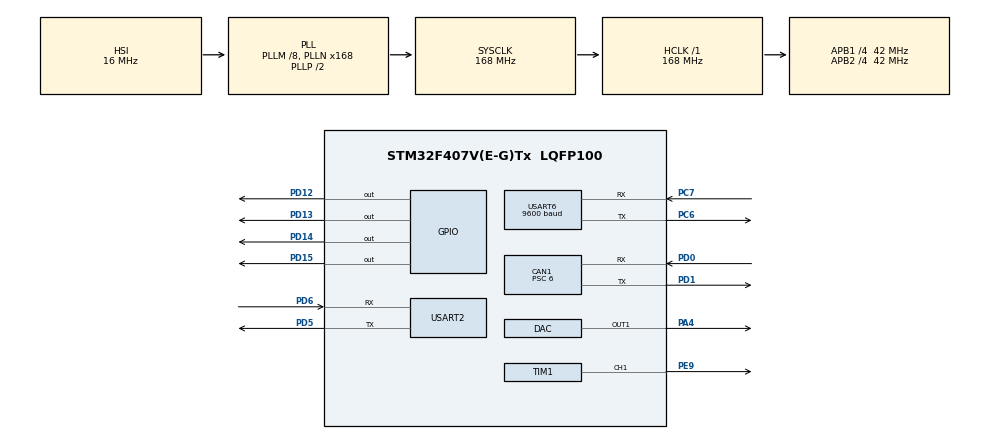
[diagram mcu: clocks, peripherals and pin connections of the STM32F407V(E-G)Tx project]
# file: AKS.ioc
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CAN1.BS1=CAN_BS1_11TQ
CAN1.BS2=CAN_BS2_2TQ
CAN1.CalculateBaudRate=500000
CAN1.CalculateTimeBit=2000
CAN1.CalculateTimeQuantum=142.85714285714286
CAN1.Prescaler=6
DAC.DAC_Trigger=DAC_TRIGGER_T6_TRGO
Dma.Request0=TIM1_CH1
Dma.TIM1_CH1.0.Direction=DMA_MEMORY_TO_PERIPH
Dma.TIM1_CH1.0.FIFOMode=DMA_FIFOMODE_DISABLE
Dma.TIM1_CH1.0.Instance=DMA2_Stream1
Dma.TIM1_CH1.0.MemDataAlignment=DMA_MDATAALIGN_HALFWORD
Dma.TIM1_CH1.0.MemInc=DMA_MINC_ENABLE
Dma.TIM1_CH1.0.Mode=DMA_NORMAL
Dma.TIM1_CH1.0.PeriphDataAlignment=DMA_PDATAALIGN_HALFWORD
Dma.TIM1_CH1.0.PeriphInc=DMA_PINC_DISABLE
Dma.TIM1_CH1.0.Priority=DMA_PRIORITY_LOW
FREERTOS.Tasks01=nextion,24,128,start_nextion,Default,NULL,Dynamic,NULL,NULL;rf,24,128,start_rf,Default,NULL,Dynamic,NULL,NULL;can,24,128,start_can,Default,NULL,Dynamic,NULL,NULL;right_signal,24,128,right_signal_start,Default,NULL,Dynamic,NULL,NULL;left_signal,24,128,left_signal_signal,Default,NULL,Dynamic,NULL,NULL;stop_signal,24,128,stop_signal_start,Default,NULL,Dynamic,NULL,NULL
Mcu.Family=STM32F4
Mcu.Name=STM32F407V(E-G)Tx
Mcu.Package=LQFP100
NVIC.DMA2_Stream1_IRQn=true\:5\:0\:false\:false\:true\:true\:false\:true\:true
NVIC.PriorityGroup=NVIC_PRIORITYGROUP_4
NVIC.TIM6_DAC_IRQn=true\:5\:0\:false\:false\:true\:false\:false\:true\:true
NVIC.TIM7_IRQn=true\:15\:0\:false\:false\:true\:false\:true\:true\:true
NVIC.TimeBase=TIM7_IRQn
NVIC.TimeBaseIP=TIM7
PA13.Mode=Serial_Wire
PA13.Signal=SYS_JTMS-SWDIO
PA14.Mode=Serial_Wire
PA14.Signal=SYS_JTCK-SWCLK
PA4.Signal=COMP_DAC1_group
PC6.Mode=Asynchronous
PC6.Signal=USART6_TX
PC7.Mode=Asynchronous
PC7.Signal=USART6_RX
PD0.Mode=CAN_Activate
PD0.Signal=CAN1_RX
PD1.Mode=CAN_Activate
PD1.Signal=CAN1_TX
PD12.Signal=GPIO_Output
PD13.Signal=GPIO_Output
PD14.Signal=GPIO_Output
PD15.Signal=GPIO_Output
PD5.Mode=Asynchronous
PD5.Signal=USART2_TX
PD6.Mode=Asynchronous
PD6.Signal=USART2_RX
PE9.Signal=S_TIM1_CH1
PH0-OSC_IN.Mode=HSE-External-Clock-Source
PH0-OSC_IN.Signal=RCC_OSC_IN
PH1-OSC_OUT.Mode=HSE-External-Clock-Source
PH1-OSC_OUT.Signal=RCC_OSC_OUT
ProjectManager.HeapSize=0x200
ProjectManager.StackSize=0x400
ProjectManager.TargetToolchain=STM32CubeIDE
RCC.48MHZClocksFreq_Value=84000000
RCC.AHBFreq_Value=168000000
RCC.APB1CLKDivider=RCC_HCLK_DIV4
RCC.APB1Freq_Value=42000000
RCC.APB1TimFreq_Value=84000000
RCC.APB2CLKDivider=RCC_HCLK_DIV4
RCC.APB2Freq_Value=42000000
RCC.APB2TimFreq_Value=84000000
RCC.CortexFreq_Value=168000000
RCC.HCLKFreq_Value=168000000
RCC.HSE_VALUE=25000000
RCC.HSI_VALUE=16000000
RCC.LSE_VALUE=32768
RCC.PLLM=8
RCC.PLLN=168
RCC.SYSCLKFreq_VALUE=168000000
RCC.SYSCLKSource=RCC_SYSCLKSOURCE_PLLCLK
RCC.VCOOutputFreq_Value=336000000
SH.COMP_DAC1_group.0=DAC_OUT1,DAC_OUT1
SH.S_TIM1_CH1.0=TIM1_CH1,PWM Generation1 CH1
TIM1.Channel-PWM\ Generation1\ CH1=TIM_CHANNEL_1
TIM1.Period=105-1
TIM6.Period=3000
USART2.VirtualMode=VM_ASYNC
USART6.BaudRate=9600
USART6.VirtualMode=VM_ASYNC
VP_FREERTOS_VS_CMSIS_V2.Mode=CMSIS_V2
VP_SYS_VS_tim7.Mode=TIM7
VP_TIM1_VS_ClockSourceINT.Mode=Internal
VP_TIM6_VS_ClockSourceINT.Mode=Enable_Timer
board=custom

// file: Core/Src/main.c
/* USER CODE BEGIN Header */
/**
  ******************************************************************************
  * @file           : main.c
  * @brief          : Main program body
  ******************************************************************************
  * @attention
  *
  * Copyright (c) 2023 STMicroelectronics.
  * All rights reserved.
  *
  * This software is licensed under terms that can be found in the LICENSE file
  * in the root directory of this software component.
  * If no LICENSE file comes with this software, it is provided AS-IS.
  *
  ******************************************************************************
  */
/* USER CODE END Header */
#include "main.h"
#include "cmsis_os.h"

/* USER CODE BEGIN Includes */
/*extern uint8_t wav_2[33487];
extern uint8_t rawData2[627218];*/
//extern const uint8_t m[661848];
#include "electricar.h"

/* CAN Includes*/

	CAN_TxHeaderTypeDef pTxHeader;
	CAN_RxHeaderTypeDef pRxHeader;
	CAN_FilterTypeDef sFilterConfig;
	uint32_t pTxMailbox;

	uint8_t RxData[8];

	float converted_float[4];
	uint8_t data_bms[8];
	uint8_t data2_bms[8];
	uint8_t data3_bms[8];
	uint8_t data_motor;
	uint8_t data_charger;
	uint8_t data_relay;
	uint8_t CanReceive=0;
	uint8_t RxData_r[1];

	  char arr[100];
/* CAN Includes*/

int BMS_IDS[4] = {1,2,3,4};
int number=10;
int status=0;
int cnt = 0;
char tempp[24][4];
uint8_t adc_value;

char myMessagex[50];

struct VARIABLES{

		/*   veri sırası-----|
							 |
							 v

		 	 	 	 	 	 	 	 */
	/*          RF Values Start	     */
	int direction;
	int speed_for_rf;
	float battery_voltage[24];
	int battery_temparature;
	/*          RF Values End	     */
	int brake;
	float wheel_radius; // 0.5 meter

	int ADC_AVAILABLE;
	int ADC_CALCULATING;
	int CAN_FLAG;
	int RIGHT_SIGNAL_FLAG;
	int LEFT_SIGNAL_FLAG;
	int STOP_SIGNAL_FLAG;
	int ADC_FLAG;
	int VAR_FLAG;
}ecar;
#define power "t2"
#define speed "t12"
#define temp "t5"
#define watt "t10"
#define charge_percentage "t1"
#define clock "t0"
#define state_of_charge1 "p15"
#define state_of_charge2 "t7"
#define charge_time "t9"
#define state_of_charge3 "t11"
#define left_arrow "p6"
#define right_arrow "p9"
#define horn "p5"
#define lights "p13"
#define wiper "p11"

/* USER CODE END Includes */

 CAN_HandleTypeDef hcan1;

DAC_HandleTypeDef hdac;

TIM_HandleTypeDef htim1;
TIM_HandleTypeDef htim6;
DMA_HandleTypeDef hdma_tim1_ch1;

UART_HandleTypeDef huart2;
UART_HandleTypeDef huart6;

/* Definitions for nextion */
osThreadId_t nextionHandle;
const osThreadAttr_t nextion_attributes = {
  .name = "nextion",
  .stack_size = 128 * 4,
  .priority = (osPriority_t) osPriorityNormal,
};
/* Definitions for rf */
osThreadId_t rfHandle;
const osThreadAttr_t rf_attributes = {
  .name = "rf",
  .stack_size = 128 * 4,
  .priority = (osPriority_t) osPriorityNormal,
};
/* Definitions for can */
osThreadId_t canHandle;
const osThreadAttr_t can_attributes = {
  .name = "can",
  .stack_size = 128 * 4,
  .priority = (osPriority_t) osPriorityNormal,
};
/* Definitions for right_signal */
osThreadId_t right_signalHandle;
const osThreadAttr_t right_signal_attributes = {
  .name = "right_signal",
  .stack_size = 128 * 4,
  .priority = (osPriority_t) osPriorityNormal,
};
/* Definitions for left_signal */
osThreadId_t left_signalHandle;
const osThreadAttr_t left_signal_attributes = {
  .name = "left_signal",
  .stack_size = 128 * 4,
  .priority = (osPriority_t) osPriorityNormal,
};
/* Definitions for stop_signal */
osThreadId_t stop_signalHandle;
const osThreadAttr_t stop_signal_attributes = {
  .name = "stop_signal",
  .stack_size = 128 * 4,
  .priority = (osPriority_t) osPriorityNormal,
};

void SystemClock_Config(void);
static void MX_GPIO_Init(void);
static void MX_CAN1_Init(void);
static void MX_DAC_Init(void);
static void MX_USART2_UART_Init(void);
static void MX_USART6_UART_Init(void);
static void MX_DMA_Init(void);
static void MX_TIM6_Init(void);
static void MX_TIM1_Init(void);
void start_nextion(void *argument);
void start_rf(void *argument);
void start_can(void *argument);
void right_signal_start(void *argument);
void left_signal_signal(void *argument);
void stop_signal_start(void *argument);

/* USER CODE BEGIN PFP */
void HAL_TIM_PWM_PulseFinishedCallback(TIM_HandleTypeDef *htim);
void Set_LED (int LEDnum, int Red, int Green, int Blue);
void Set_Brightness (int brightness);
void WS2812_Send (void);
void Reset_LED (void);
void right_signal();
void stop_signal();
void left_signal();
float convert_float (int data_1, int data_2);
int data_merge();
void toggle_func(GPIO_TypeDef * port,uint16_t pin,int togg_flag,const int const_val);
int prepare_data();
void deneme();
/* USER CODE END PFP */

/* USER CODE BEGIN 0 */

#define MAX_LED 45
#define USE_BRIGHTNESS 0
#define l 15
#define RIGHT_SIGNAL MAX_LED-l
#define LEFT_SIGNAL MAX_LED-l-l-l
#define STOP_SIGNAL MAX_LED-l-l
#define PI 3.14159265

uint8_t LED_Data[MAX_LED][4];
uint8_t LED_Mod[MAX_LED][4];  // for brightness

int datasentflag=0;

/* USER CODE END 0 */

int main(void)
{

  /* MCU Configuration--------------------------------------------------------*/

  /* Reset of all peripherals, Initializes the Flash interface and the Systick. */
  HAL_Init();

  /* Configure the system clock */
  SystemClock_Config();

  /* Initialize all configured peripherals */
  MX_GPIO_Init();
  MX_CAN1_Init();
  MX_DAC_Init();
  MX_USART2_UART_Init();
  MX_USART6_UART_Init();
  MX_DMA_Init();
  MX_TIM6_Init();
  MX_TIM1_Init();
  /* USER CODE BEGIN 2 */
  HAL_DAC_Start(&hdac, DAC_CHANNEL_1);
  HAL_TIM_Base_Start_IT(&htim6);
  HAL_CAN_Start(&hcan1);

  pTxHeader.DLC = 1;
  pTxHeader.IDE = CAN_ID_STD;
  pTxHeader.RTR = CAN_RTR_DATA;
  pTxHeader.StdId = 0x0407;

  Reset_LED();

  Set_Brightness(45);
  WS2812_Send();
   //set filter parameters
   sFilterConfig.FilterActivation = ENABLE;
   sFilterConfig.FilterBank = 0;
   sFilterConfig.FilterFIFOAssignment = CAN_FILTER_FIFO0;
   sFilterConfig.FilterIdHigh = 0x0000 ;
   sFilterConfig.FilterIdLow = 0x0000 ;
   sFilterConfig.FilterMaskIdHigh = 0x0000 ;
   sFilterConfig.FilterMaskIdLow = 0x0000 ;
   sFilterConfig.FilterMode = CAN_FILTERMODE_IDMASK;
   sFilterConfig.FilterScale = CAN_FILTERSCALE_32BIT;

   HAL_CAN_ConfigFilter(&hcan1, &sFilterConfig);

  /* USER CODE END 2 */

  /* Init scheduler */
  osKernelInitialize();

  /* Create the thread(s) */
  /* creation of nextion */
  nextionHandle = osThreadNew(start_nextion, NULL, &nextion_attributes);

  /* creation of rf */
  rfHandle = osThreadNew(start_rf, NULL, &rf_attributes);

  /* creation of can */
  canHandle = osThreadNew(start_can, NULL, &can_attributes);

  /* creation of right_signal */
  right_signalHandle = osThreadNew(right_signal_start, NULL, &right_signal_attributes);

  /* creation of left_signal */
  left_signalHandle = osThreadNew(left_signal_signal, NULL, &left_signal_attributes);

  /* creation of stop_signal */
  stop_signalHandle = osThreadNew(stop_signal_start, NULL, &stop_signal_attributes);

  /* Start scheduler */
  osKernelStart();

  /* We should never get here as control is now taken by the scheduler */
  /* Infinite loop */
  while (1)
  {

  }
}

void SystemClock_Config(void)
{
  RCC_OscInitTypeDef RCC_OscInitStruct = {0};
  RCC_ClkInitTypeDef RCC_ClkInitStruct = {0};

  /** Configure the main internal regulator output voltage
  */
  __HAL_RCC_PWR_CLK_ENABLE();
  __HAL_PWR_VOLTAGESCALING_CONFIG(PWR_REGULATOR_VOLTAGE_SCALE1);

  /** Initializes the RCC Oscillators according to the specified parameters
  * in the RCC_OscInitTypeDef structure.
  */
  RCC_OscInitStruct.OscillatorType = RCC_OSCILLATORTYPE_HSI;
  RCC_OscInitStruct.HSIState = RCC_HSI_ON;
  RCC_OscInitStruct.HSICalibrationValue = RCC_HSICALIBRATION_DEFAULT;
  RCC_OscInitStruct.PLL.PLLState = RCC_PLL_ON;
  RCC_OscInitStruct.PLL.PLLSource = RCC_PLLSOURCE_HSI;
  RCC_OscInitStruct.PLL.PLLM = 8;
  RCC_OscInitStruct.PLL.PLLN = 168;
  RCC_OscInitStruct.PLL.PLLP = RCC_PLLP_DIV2;
  RCC_OscInitStruct.PLL.PLLQ = 4;
  if (HAL_RCC_OscConfig(&RCC_OscInitStruct) != HAL_OK)
  {
    Error_Handler();
  }

  /** Initializes the CPU, AHB and APB buses clocks
  */
  RCC_ClkInitStruct.ClockType = RCC_CLOCKTYPE_HCLK|RCC_CLOCKTYPE_SYSCLK
                              |RCC_CLOCKTYPE_PCLK1|RCC_CLOCKTYPE_PCLK2;
  RCC_ClkInitStruct.SYSCLKSource = RCC_SYSCLKSOURCE_PLLCLK;
  RCC_ClkInitStruct.AHBCLKDivider = RCC_SYSCLK_DIV1;
  RCC_ClkInitStruct.APB1CLKDivider = RCC_HCLK_DIV4;
  RCC_ClkInitStruct.APB2CLKDivider = RCC_HCLK_DIV4;

  if (HAL_RCC_ClockConfig(&RCC_ClkInitStruct, FLASH_LATENCY_5) != HAL_OK)
  {
    Error_Handler();
  }
}

static void MX_CAN1_Init(void)
{

  hcan1.Instance = CAN1;
  hcan1.Init.Prescaler = 6;
  hcan1.Init.Mode = CAN_MODE_NORMAL;
  hcan1.Init.SyncJumpWidth = CAN_SJW_1TQ;
  hcan1.Init.TimeSeg1 = CAN_BS1_11TQ;
  hcan1.Init.TimeSeg2 = CAN_BS2_2TQ;
  hcan1.Init.TimeTriggeredMode = DISABLE;
  hcan1.Init.AutoBusOff = DISABLE;
  hcan1.Init.AutoWakeUp = DISABLE;
  hcan1.Init.AutoRetransmission = DISABLE;
  hcan1.Init.ReceiveFifoLocked = DISABLE;
  hcan1.Init.TransmitFifoPriority = DISABLE;
  if (HAL_CAN_Init(&hcan1) != HAL_OK)
  {
    Error_Handler();
  }

}

static void MX_DAC_Init(void)
{

  DAC_ChannelConfTypeDef sConfig = {0};

  /** DAC Initialization
  */
  hdac.Instance = DAC;
  if (HAL_DAC_Init(&hdac) != HAL_OK)
  {
    Error_Handler();
  }

  /** DAC channel OUT1 config
  */
  sConfig.DAC_Trigger = DAC_TRIGGER_T6_TRGO;
  sConfig.DAC_OutputBuffer = DAC_OUTPUTBUFFER_ENABLE;
  if (HAL_DAC_ConfigChannel(&hdac, &sConfig, DAC_CHANNEL_1) != HAL_OK)
  {
    Error_Handler();
  }

}

static void MX_TIM1_Init(void)
{

  TIM_ClockConfigTypeDef sClockSourceConfig = {0};
  TIM_MasterConfigTypeDef sMasterConfig = {0};
  TIM_OC_InitTypeDef sConfigOC = {0};
  TIM_BreakDeadTimeConfigTypeDef sBreakDeadTimeConfig = {0};

  htim1.Instance = TIM1;
  htim1.Init.Prescaler = 0;
  htim1.Init.CounterMode = TIM_COUNTERMODE_UP;
  htim1.Init.Period = 105-1;
  htim1.Init.ClockDivision = TIM_CLOCKDIVISION_DIV1;
  htim1.Init.RepetitionCounter = 0;
  htim1.Init.AutoReloadPreload = TIM_AUTORELOAD_PRELOAD_DISABLE;
  if (HAL_TIM_Base_Init(&htim1) != HAL_OK)
  {
    Error_Handler();
  }
  sClockSourceConfig.ClockSource = TIM_CLOCKSOURCE_INTERNAL;
  if (HAL_TIM_ConfigClockSource(&htim1, &sClockSourceConfig) != HAL_OK)
  {
    Error_Handler();
  }
  if (HAL_TIM_PWM_Init(&htim1) != HAL_OK)
  {
    Error_Handler();
  }
  sMasterConfig.MasterOutputTrigger = TIM_TRGO_RESET;
  sMasterConfig.MasterSlaveMode = TIM_MASTERSLAVEMODE_DISABLE;
  if (HAL_TIMEx_MasterConfigSynchronization(&htim1, &sMasterConfig) != HAL_OK)
  {
    Error_Handler();
  }
  sConfigOC.OCMode = TIM_OCMODE_PWM1;
  sConfigOC.Pulse = 0;
  sConfigOC.OCPolarity = TIM_OCPOLARITY_HIGH;
  sConfigOC.OCNPolarity = TIM_OCNPOLARITY_HIGH;
  sConfigOC.OCFastMode = TIM_OCFAST_DISABLE;
  sConfigOC.OCIdleState = TIM_OCIDLESTATE_RESET;
  sConfigOC.OCNIdleState = TIM_OCNIDLESTATE_RESET;
  if (HAL_TIM_PWM_ConfigChannel(&htim1, &sConfigOC, TIM_CHANNEL_1) != HAL_OK)
  {
    Error_Handler();
  }
  sBreakDeadTimeConfig.OffStateRunMode = TIM_OSSR_DISABLE;
  sBreakDeadTimeConfig.OffStateIDLEMode = TIM_OSSI_DISABLE;
  sBreakDeadTimeConfig.LockLevel = TIM_LOCKLEVEL_OFF;
  sBreakDeadTimeConfig.DeadTime = 0;
  sBreakDeadTimeConfig.BreakState = TIM_BREAK_DISABLE;
  sBreakDeadTimeConfig.BreakPolarity = TIM_BREAKPOLARITY_HIGH;
  sBreakDeadTimeConfig.AutomaticOutput = TIM_AUTOMATICOUTPUT_DISABLE;
  if (HAL_TIMEx_ConfigBreakDeadTime(&htim1, &sBreakDeadTimeConfig) != HAL_OK)
  {
    Error_Handler();
  }
  HAL_TIM_MspPostInit(&htim1);

}

static void MX_TIM6_Init(void)
{

  TIM_MasterConfigTypeDef sMasterConfig = {0};

  htim6.Instance = TIM6;
  htim6.Init.Prescaler = 0;
  htim6.Init.CounterMode = TIM_COUNTERMODE_UP;
  htim6.Init.Period = 3000;
  htim6.Init.AutoReloadPreload = TIM_AUTORELOAD_PRELOAD_DISABLE;
  if (HAL_TIM_Base_Init(&htim6) != HAL_OK)
  {
    Error_Handler();
  }
  sMasterConfig.MasterOutputTrigger = TIM_TRGO_RESET;
  sMasterConfig.MasterSlaveMode = TIM_MASTERSLAVEMODE_DISABLE;
  if (HAL_TIMEx_MasterConfigSynchronization(&htim6, &sMasterConfig) != HAL_OK)
  {
    Error_Handler();
  }

}

static void MX_USART2_UART_Init(void)
{

  huart2.Instance = USART2;
  huart2.Init.BaudRate = 115200;
  huart2.Init.WordLength = UART_WORDLENGTH_8B;
  huart2.Init.StopBits = UART_STOPBITS_1;
  huart2.Init.Parity = UART_PARITY_NONE;
  huart2.Init.Mode = UART_MODE_TX_RX;
  huart2.Init.HwFlowCtl = UART_HWCONTROL_NONE;
  huart2.Init.OverSampling = UART_OVERSAMPLING_16;
  if (HAL_UART_Init(&huart2) != HAL_OK)
  {
    Error_Handler();
  }

}

static void MX_USART6_UART_Init(void)
{

  huart6.Instance = USART6;
  huart6.Init.BaudRate = 9600;
  huart6.Init.WordLength = UART_WORDLENGTH_8B;
  huart6.Init.StopBits = UART_STOPBITS_1;
  huart6.Init.Parity = UART_PARITY_NONE;
  huart6.Init.Mode = UART_MODE_TX_RX;
  huart6.Init.HwFlowCtl = UART_HWCONTROL_NONE;
  huart6.Init.OverSampling = UART_OVERSAMPLING_16;
  if (HAL_UART_Init(&huart6) != HAL_OK)
  {
    Error_Handler();
  }

}

static void MX_DMA_Init(void)
{

  /* DMA controller clock enable */
  __HAL_RCC_DMA2_CLK_ENABLE();

  /* DMA interrupt init */
  /* DMA2_Stream1_IRQn interrupt configuration */
  HAL_NVIC_SetPriority(DMA2_Stream1_IRQn, 5, 0);
  HAL_NVIC_EnableIRQ(DMA2_Stream1_IRQn);

}

static void MX_GPIO_Init(void)
{
  GPIO_InitTypeDef GPIO_InitStruct = {0};

  /* GPIO Ports Clock Enable */
  __HAL_RCC_GPIOH_CLK_ENABLE();
  __HAL_RCC_GPIOA_CLK_ENABLE();
  __HAL_RCC_GPIOE_CLK_ENABLE();
  __HAL_RCC_GPIOD_CLK_ENABLE();
  __HAL_RCC_GPIOC_CLK_ENABLE();

  /*Configure GPIO pin Output Level */
  HAL_GPIO_WritePin(GPIOD, GPIO_PIN_12|GPIO_PIN_13|GPIO_PIN_14|GPIO_PIN_15, GPIO_PIN_RESET);

  /*Configure GPIO pins : PD12 PD13 PD14 PD15 */
  GPIO_InitStruct.Pin = GPIO_PIN_12|GPIO_PIN_13|GPIO_PIN_14|GPIO_PIN_15;
  GPIO_InitStruct.Mode = GPIO_MODE_OUTPUT_PP;
  GPIO_InitStruct.Pull = GPIO_NOPULL;
  GPIO_InitStruct.Speed = GPIO_SPEED_FREQ_LOW;
  HAL_GPIO_Init(GPIOD, &GPIO_InitStruct);

}

void start_nextion(void *argument)
{
  /* USER CODE BEGIN 5 */
  /* Infinite loop */
  for(;;)
  {

	  	 number++;
	  	 if(number>100){
	  		 number=10;
	  	 }
	  	 	 uint8_t cmdEnd[3] = { 0xFF, 0xFF, 0xFF };
	  	 	 uint8_t myMessage[50];
	  	 	 int lenx = sprintf(myMessage, "%s.txt=\"", "t12");
	  	 	 HAL_UART_Transmit(&huart6, (uint8_t*)myMessage , lenx, 1000);
	  	 	 HAL_UART_Transmit(&huart6, (uint8_t*)"20\"" , strlen("20\""), 1000);
	  	 	 HAL_UART_Transmit(&huart6, cmdEnd, 3, 1000);
	  	status= !status;
	  	 NEXTION_SEND(huart6,2, power, number, myMessagex);
	  	 NEXTION_SEND(huart6, 2, speed, number, myMessagex);
	  	 NEXTION_SEND(huart6, 2, temp, number, myMessagex);
	  	 NEXTION_SEND(huart6, 2, watt, number, myMessagex);
	  	 NEXTION_SEND(huart6, 2, charge_percentage, number, myMessagex);
	  	 NEXTION_SEND(huart6, 2, clock, number, myMessagex);
	  	 NEXTION_SEND(huart6, 0, state_of_charge1, status, myMessagex);
	  	 NEXTION_SEND(huart6, 0, state_of_charge2, status, myMessagex);
	  	 NEXTION_SEND(huart6, 2, charge_time, number, myMessagex);
	  	 NEXTION_SEND(huart6, 0, state_of_charge3, status, myMessagex);
	  	 NEXTION_SEND(huart6, 0, left_arrow, status, myMessagex);
	  	 NEXTION_SEND(huart6, 0, right_arrow, status, myMessagex);
	  	 NEXTION_SEND(huart6, 0, horn, status, myMessagex);
	  	 NEXTION_SEND(huart6, 0, lights, status, myMessagex);
	  	 NEXTION_SEND(huart6, 0, wiper, status, myMessagex);
	  HAL_GPIO_TogglePin(GPIOD, GPIO_PIN_14);
	  //HAL_Delay(20);
  }
  /* USER CODE END 5 */
}

void start_rf(void *argument)
{
  /* USER CODE BEGIN start_rf */
  /* Infinite loop */
ecar.direction='+';
  for(;;)
  {

	//sprintf(arr,"%c%c%s%s%s%s%s%s%s%s%s%s%s%s%s%s%s%s%s%s%s%s%s%s%s%s%c1",ecar.direction,ci2a(ecar.speed_for_rf),cf2a(ecar.battery_voltage[0],tempp[0]),cf2a(ecar.battery_voltage[1],tempp[1]),cf2a(ecar.battery_voltage[2],tempp[2]),cf2a(ecar.battery_voltage[3],tempp[3]),cf2a(ecar.battery_voltage[4],tempp[4]),cf2a(ecar.battery_voltage[5],tempp[5]),cf2a(ecar.battery_voltage[6],tempp[6]),cf2a(ecar.battery_voltage[7],tempp[7]),cf2a(ecar.battery_voltage[8],tempp[8]),cf2a(ecar.battery_voltage[9],tempp[9]),cf2a(ecar.battery_voltage[10],tempp[10]),cf2a(ecar.battery_voltage[11],tempp[11]),cf2a(ecar.battery_voltage[12],tempp[12]),cf2a(ecar.battery_voltage[13],tempp[13]),cf2a(ecar.battery_voltage[14],tempp[14]),cf2a(ecar.battery_voltage[15],tempp[15]),cf2a(ecar.battery_voltage[16],tempp[16]),cf2a(ecar.battery_voltage[17],tempp[17]),cf2a(ecar.battery_voltage[18],tempp[18]),cf2a(ecar.battery_voltage[19],tempp[19]),cf2a(ecar.battery_voltage[20],tempp[20]),cf2a(ecar.battery_voltage[21],tempp[21]),cf2a(ecar.battery_voltage[22],tempp[22]),cf2a(ecar.battery_voltage[23],tempp[23]),ci2a(ecar.battery_temparature));
	// deneme();
	  if(prepare_data()){
		 HAL_UART_Transmit(&huart2, (uint8_t*)arr, strlen(arr), 1000);
		 memset(arr, 0, 100 * sizeof(char));
		 HAL_GPIO_TogglePin(GPIOD, GPIO_PIN_12);
		 HAL_Delay(50);
	 }

	//HAL_Delay(50);

  }
  /* USER CODE END start_rf */
}

void start_can(void *argument)
{
  /* USER CODE BEGIN start_can */
	int flag_can=0;
  /* Infinite loop */
  for(;;)
  {
	  if(!(HAL_CAN_GetRxMessage(&hcan1, CAN_RX_FIFO0, &pRxHeader, RxData))){
	  switch (pRxHeader.StdId) {
		case 37:
			ecar.battery_voltage[0]=RxData[0]*100+RxData[1];
			ecar.battery_voltage[1]=RxData[2]*100+RxData[3];
			ecar.battery_voltage[2]=RxData[4]*100+RxData[5];
			ecar.battery_voltage[3]=RxData[6]*100+RxData[7];
			HAL_GPIO_TogglePin(GPIOD, GPIO_PIN_13);
			break;
		case 38:
			ecar.battery_voltage[4]=RxData[0]*100+RxData[1];
			ecar.battery_voltage[5]=RxData[2]*100+RxData[3];
			ecar.battery_voltage[6]=RxData[4]*100+RxData[5];
			ecar.battery_voltage[7]=RxData[6]*100+RxData[7];
			HAL_GPIO_TogglePin(GPIOD, GPIO_PIN_13);
			break;
		case 39:
			ecar.battery_voltage[8]=RxData[0]*100+RxData[1];
			ecar.battery_voltage[9]=RxData[2]*100+RxData[3];
			ecar.battery_voltage[10]=RxData[4]*100+RxData[5];
			ecar.battery_voltage[11]=RxData[6]*100+RxData[7];
			HAL_GPIO_TogglePin(GPIOD, GPIO_PIN_13);
			break;
		case 40:
			ecar.battery_voltage[12]=RxData[0]*100+RxData[1];
			ecar.battery_voltage[13]=RxData[2]*100+RxData[3];
			ecar.battery_voltage[14]=RxData[4]*100+RxData[5];
			ecar.battery_voltage[15]=RxData[6]*100+RxData[7];
			HAL_GPIO_TogglePin(GPIOD, GPIO_PIN_13);
			break;
		case 41:
			ecar.battery_voltage[16]=RxData[0]*100+RxData[1];
			ecar.battery_voltage[17]=RxData[2]*100+RxData[3];
			ecar.battery_voltage[18]=RxData[4]*100+RxData[5];
			ecar.battery_voltage[19]=RxData[6]*100+RxData[7];
			HAL_GPIO_TogglePin(GPIOD, GPIO_PIN_13);
			break;
		case 42:
			ecar.battery_voltage[20]=RxData[0]*100+RxData[1];
			ecar.battery_voltage[21]=RxData[2]*100+RxData[3];
			ecar.battery_voltage[22]=RxData[4]*100+RxData[5];
			ecar.battery_voltage[23]=RxData[6]*100+RxData[7];
			HAL_GPIO_TogglePin(GPIOD, GPIO_PIN_13);
			break;
	  }
	  uint8_t can_feedback[1];can_feedback[0]=pRxHeader.StdId;
	  if(!(HAL_CAN_AddTxMessage(&hcan1, &pTxHeader, can_feedback, &pTxMailbox))){
		  HAL_GPIO_TogglePin(GPIOD, GPIO_PIN_15);
	  }

	}

		/*if(data_merge()){
			HAL_GPIO_WritePin(GPIOD, GPIO_PIN_13,1);
			if ((pRxHeader.StdId == 1))
			{
			   ecar.battery_voltage[0]=converted_float[0];
			   ecar.battery_voltage[1]=converted_float[1];
			   ecar.battery_voltage[2]=converted_float[2];
			   ecar.battery_voltage[3]=converted_float[3];
			}
			if ((pRxHeader.StdId == 2))
			{
				ecar.battery_voltage[4]=converted_float[0];
				ecar.battery_voltage[5]=converted_float[1];
				ecar.battery_voltage[6]=converted_float[2];
				ecar.battery_voltage[7]=converted_float[3];
			}
			if ((pRxHeader.StdId == 3))
		    {
				ecar.battery_voltage[8]=converted_float[0];
				ecar.battery_voltage[9]=converted_float[1];
				ecar.battery_voltage[10]=converted_float[2];
				ecar.battery_voltage[11]=converted_float[3];
			}
			if ((pRxHeader.StdId == 259))
			{
				ecar.battery_voltage[12]=converted_float[0];
				ecar.battery_voltage[13]=converted_float[1];
				ecar.battery_voltage[14]=converted_float[2];
				ecar.battery_voltage[15]=converted_float[3];
			}
			if ((pRxHeader.StdId == 260))
			{
				ecar.battery_voltage[16]=converted_float[0];
				ecar.battery_voltage[17]=converted_float[1];
				ecar.battery_voltage[18]=converted_float[2];
				ecar.battery_voltage[19]=converted_float[3];
			}
			if ((pRxHeader.StdId == 261))
			{
				 ecar.battery_voltage[20]=converted_float[0];
				 ecar.battery_voltage[21]=converted_float[1];
				 ecar.battery_voltage[22]=converted_float[2];
				 ecar.battery_voltage[23]=converted_float[3];
			}
			HAL_Delay(20);
		}

		else{
			HAL_Delay(200);
			HAL_GPIO_WritePin(GPIOD, GPIO_PIN_13,0);
		}*/

   //flag_can++;
  }
  /* USER CODE END start_can */
}

void right_signal_start(void *argument)
{
  /* USER CODE BEGIN right_signal_start */
  /* Infinite loop */
  for(;;)
  {
	 while(ecar.RIGHT_SIGNAL_FLAG){
	    ecar.RIGHT_SIGNAL_FLAG=0;
		right_signal();
		osDelay(100);
	 }
  }
  /* USER CODE END right_signal_start */
}

void left_signal_signal(void *argument)
{
  /* USER CODE BEGIN left_signal_signal */
  /* Infinite loop */
  for(;;)
  {
	  while(ecar.LEFT_SIGNAL_FLAG){
	  	 ecar.LEFT_SIGNAL_FLAG=0;
	  	 left_signal();
	  	 osDelay(100);
	  }
  }
  /* USER CODE END left_signal_signal */
}

void stop_signal_start(void *argument)
{
  /* USER CODE BEGIN stop_signal_start */
  /* Infinite loop */
  for(;;)
  {
	  while(ecar.STOP_SIGNAL_FLAG){
	  	 ecar.STOP_SIGNAL_FLAG=0;
	  	 stop_signal();
	  	 osDelay(100);
	  }
  }
  /* USER CODE END stop_signal_start */
}

void HAL_TIM_PWM_PulseFinishedCallback(TIM_HandleTypeDef *htim)
{
	HAL_TIM_PWM_Stop_DMA(&htim1, TIM_CHANNEL_1);
	datasentflag=1;
}

void Set_LED (int LEDnum, int Red, int Green, int Blue)
{
	LED_Data[LEDnum][0] = LEDnum;
	LED_Data[LEDnum][1] = Green;
	LED_Data[LEDnum][2] = Red;
	LED_Data[LEDnum][3] = Blue;
}

void Set_Brightness (int brightness)  // 0-45
{
#if USE_BRIGHTNESS

	if (brightness > 45) brightness = 45;
	for (int i=0; i<MAX_LED; i++)
	{
		LED_Mod[i][0] = LED_Data[i][0];
		for (int j=1; j<4; j++)
		{
			float angle = 90-brightness;  // in degrees
			angle = angle*PI / 180;  // in rad
			LED_Mod[i][j] = (LED_Data[i][j])/(tan(angle));
		}
	}

#endif

}

uint16_t pwmData[(24*MAX_LED)+50];

void WS2812_Send (void)
{
	uint32_t indx=0;
	uint32_t color;

	for (int i= 0; i<MAX_LED; i++)
	{
#if USE_BRIGHTNESS
		color = ((LED_Mod[i][1]<<16) | (LED_Mod[i][2]<<8) | (LED_Mod[i][3]));
#else
		color = ((LED_Data[i][1]<<16) | (LED_Data[i][2]<<8) | (LED_Data[i][3]));
#endif

		for (int i=23; i>=0; i--)
		{
			if (color&(1<<i))
			{
				pwmData[indx] = 70;  // 2/3 of 105
			}

			else pwmData[indx] = 35;  // 1/3 of 105

			indx++;
		}

	}

	for (int i=0; i<50; i++)
	{
		pwmData[indx] = 0;
		indx++;
	}

	HAL_TIM_PWM_Start_DMA(&htim1, TIM_CHANNEL_1, (uint32_t *)pwmData, indx);
	while (!datasentflag){};
	datasentflag = 0;
}

void Reset_LED (void)
{
	for (int i=0; i<MAX_LED; i++)
	{
		LED_Data[i][0] = i;
		LED_Data[i][1] = 0;
		LED_Data[i][2] = 0;
		LED_Data[i][3] = 0;
	}
}

void right_signal(){
	for(int i=RIGHT_SIGNAL;i<MAX_LED;i++){
			  Set_LED(((i-1)<RIGHT_SIGNAL?RIGHT_SIGNAL:MAX_LED-1), 255, 0, 0);
			  Set_LED(i, 255, 0, 0);
			  for(int j=RIGHT_SIGNAL;j<MAX_LED;j++){
				  if(j==i||j==i-1){
				  }else{
					  Set_LED(j, 0, 0, 0);
				  }
			  }
			  WS2812_Send();
			  HAL_Delay(45);
		  }
}

void stop_signal(){
	const int zer0=0;
	for(int i=STOP_SIGNAL;i<MAX_LED-l;i++){
		Set_LED(i, 0, 0, 255);
	}
	WS2812_Send();
	HAL_Delay(300);
	for(int i=STOP_SIGNAL;i<MAX_LED-l;i++){
			Set_LED(i, 0, 0, 0);
	}

}

void left_signal(){
	for(int i=MAX_LED-l-l;i>LEFT_SIGNAL;i--){
		Set_LED(((i-1)>LEFT_SIGNAL?LEFT_SIGNAL:i-1), 0, 0, 255);
		Set_LED(i, 255, 0, 0);
		for(int j=MAX_LED-l-l;j>LEFT_SIGNAL;j--){
		if(j==i){
		}else{
		    Set_LED(j, 0, 0, 0);
		}
		}
		WS2812_Send();
		HAL_Delay(100);
	}
}

float convert_float (int data_1, int data_2){
    return (float)(data_1 * 100  + data_2)/1000;
}

int data_merge(){

	if(HAL_CAN_GetRxMessage(&hcan1, CAN_RX_FIFO0, &pRxHeader, RxData)){
		return 0;
	}
	converted_float[0] = convert_float(RxData[0], RxData[1]);
	converted_float[1] = convert_float(RxData[2], RxData[3]);
	converted_float[2] = convert_float(RxData[4], RxData[5]);
	converted_float[3] = convert_float(RxData[6], RxData[7]);
	return 1;
}

void toggle_func(GPIO_TypeDef * port,uint16_t pin,int togg_flag,const int const_val){
	if(togg_flag==const_val){
		port->ODR |= 1<<pin;
		togg_flag=0;
	}
	port->ODR &= ~(1<<pin);
}

int prepare_data(){
	sprintf(arr,"%c%c",ecar.direction,ci2a(ecar.speed_for_rf));
	for(int j=0;j<24;j++){
		strcat(arr,cf2a(ecar.battery_voltage[j],tempp[j]));
	}
	strcat(arr,ci2a(ecar.battery_temparature));
	strcat(arr,"1\n");
	return 1;
}
int k=32;
void deneme(){

	ecar.direction = '-';
	ecar.speed_for_rf = 25;
	ecar.battery_voltage[0] = 32.33;
	ecar.battery_voltage[1] = 34.35;
	ecar.battery_voltage[2] = 36.37;
	ecar.battery_voltage[3] = 38.39;
	ecar.battery_voltage[4] = 40.41;
		ecar.battery_voltage[5] = 42.43;
		ecar.battery_voltage[6] = 44.45;
		ecar.battery_voltage[7] = 46.47;
		ecar.battery_voltage[8] = 48.49;
			ecar.battery_voltage[9] = 50.51;
			ecar.battery_voltage[10] = 52.53;
			ecar.battery_voltage[11] = 54.55;
			ecar.battery_voltage[12] = 56.57;
				ecar.battery_voltage[13] = 58.59;
				ecar.battery_voltage[14] = 60.61;
				ecar.battery_voltage[15] = 62.63;
				ecar.battery_voltage[16] = 64.65;
							ecar.battery_voltage[17] = 66.67;
							ecar.battery_voltage[18] = 68.69;
							ecar.battery_voltage[19] = 70.71;
							ecar.battery_voltage[20] = 72.73;
								ecar.battery_voltage[21] = 74.75;
								ecar.battery_voltage[22] = 76.77;
								ecar.battery_voltage[23] = 78.79;
								ecar.battery_temparature=80;
}

void HAL_TIM_PeriodElapsedCallback(TIM_HandleTypeDef *htim)
{
  if (htim->Instance == TIM7) {
    HAL_IncTick();
  }
  /*HAL_DAC_SetValue(&hdac, DAC_CHANNEL_1, DAC_ALIGN_8B_R, m[cnt]);
   cnt++;
   if(cnt==(sizeof m / sizeof *m)-5){
 	  cnt=0;
   }*/
  /* USER CODE BEGIN Callback 1 */
 /* HAL_GPIO_TogglePin(GPIOD, GPIO_PIN_14);
  HAL_Delay(200);*/
  /* USER CODE END Callback 1 */
}

void Error_Handler(void)
{
  __disable_irq();
  while (1)
  {
  }
}
